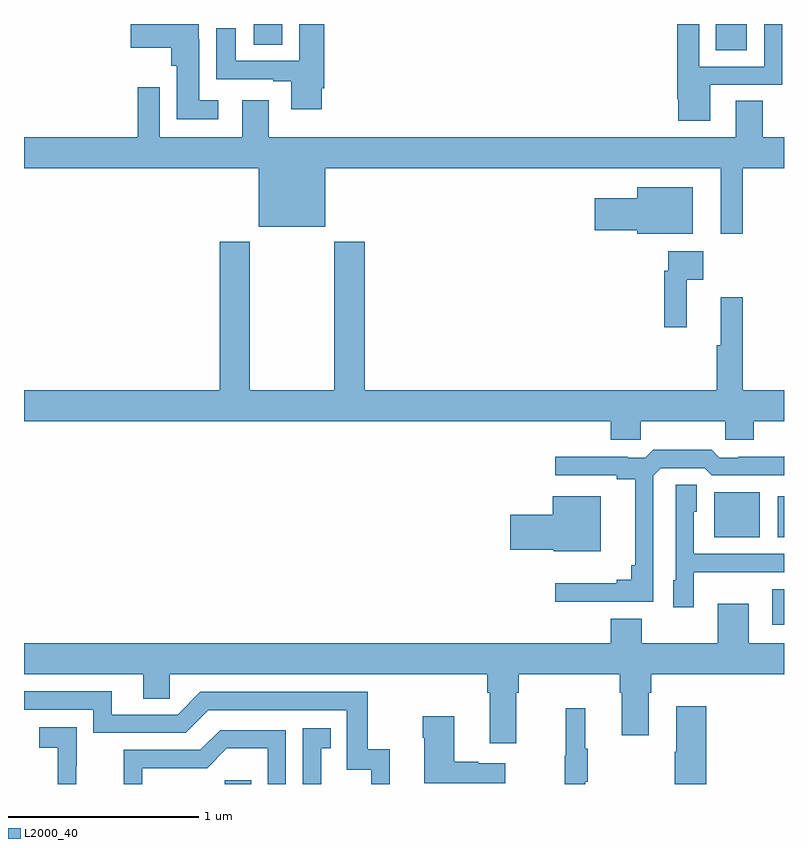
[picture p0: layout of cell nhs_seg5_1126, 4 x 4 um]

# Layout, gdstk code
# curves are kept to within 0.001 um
import gdstk
lib = gdstk.Library(unit=1e-6, precision=1e-09)
def R(c, l, rs):  # rectangles x0, y0, x1, y1
    for r in rs: c.add(gdstk.rectangle(r[:2], r[2:], *l))
def P(c, l, *ps):  # polygons
    for p in ps: c.add(gdstk.Polygon(p, *l))
L2000_40 = (2000, 40)

nhs_seg5_1126 = lib.new_cell('nhs_seg5_1126')
R(nhs_seg5_1126, L2000_40, [(180.057,906.799,180.197,906.819), (182.939,907.638,183,907.824), (182.633,908.099,182.872,908.335), (182.966,908.099,183,908.314), (182.642,910.66,182.803,910.799), (180.209,910.69,180.358,910.799)])
P(nhs_seg5_1126, L2000_40, [(180.568,910.462),(180.581,910.462),(180.581,910.799),(180.449,910.799),(180.449,910.605),(180.115,910.605),(180.115,910.777),(180.011,910.777),(180.011,910.509),(180.311,910.509),(180.311,910.497),(180.407,910.497),(180.407,910.35),(180.568,910.35)],
  [(180.022,910.399),(179.923,910.399),(179.923,910.718),(179.919,910.718),(179.919,910.799),(179.562,910.799),(179.562,910.673),(179.774,910.673),(179.774,910.578),(179.804,910.578),(179.804,910.298),(180.022,910.298)],
  [(182.611,910.479),(182.991,910.479),(182.991,910.799),(182.895,910.799),(182.895,910.575),(182.553,910.575),(182.553,910.799),(182.437,910.799),(182.437,910.402),(182.444,910.402),(182.444,910.29),(182.611,910.29)],
  [(182.783,910.04),(183,910.04),(183,910.204),(182.887,910.204),(182.887,910.394),(182.747,910.394),(182.747,910.204),(180.289,910.204),(180.289,910.399),(180.149,910.399),(180.149,910.204),(179.715,910.204),(179.715,910.465),(179.599,910.465),(179.599,910.204),(179,910.204),(179,910.04),(180.236,910.04),(180.236,909.731),(180.586,909.731),(180.586,910.04),(182.666,910.04),(182.666,909.696),(182.783,909.696)],
  [(182.521,909.94),(182.228,909.94),(182.228,909.883),(182.004,909.883),(182.004,909.713),(182.228,909.713),(182.228,909.695),(182.521,909.695)],
  [(182.247,908.708),(182.692,908.708),(182.692,908.61),(182.842,908.61),(182.842,908.708),(183,908.708),(183,908.872),(182.783,908.872),(182.783,909.361),(182.666,909.361),(182.666,909.108),(182.647,909.108),(182.647,908.872),(180.794,908.872),(180.794,909.652),(180.634,909.652),(180.634,908.872),(180.189,908.872),(180.189,909.652),(180.029,909.652),(180.029,908.872),(179,908.872),(179,908.708),(182.087,908.708),(182.087,908.61),(182.247,908.61)],
  [(182.489,909.452),(182.575,909.452),(182.575,909.604),(182.391,909.604),(182.391,909.5),(182.371,909.5),(182.371,909.204),(182.489,909.204)],
  [(182.313,908.421),(182.352,908.46),(182.583,908.46),(182.619,908.424),(183,908.424),(183,908.523),(182.758,908.522),(182.758,908.517),(182.658,908.517),(182.619,908.557),(182.311,908.557),(182.271,908.517),(182.177,908.517),(182.177,908.522),(181.797,908.522),(181.797,908.424),(182.12,908.424),(182.12,908.402),(182.216,908.402),(182.216,907.951),(182.197,907.951),(182.197,907.874),(182.12,907.874),(182.12,907.855),(181.797,907.855),(181.797,907.758),(182.313,907.758)],
  [(182.526,907.913),(182.843,907.913),(182.843,907.914),(183,907.914),(183,908.01),(182.526,908.01),(182.526,908.232),(182.542,908.232),(182.542,908.375),(182.43,908.375),(182.43,907.872),(182.417,907.872),(182.417,907.728),(182.526,907.728)],
  [(182.035,908.314),(181.784,908.314),(181.784,908.216),(181.56,908.216),(181.56,908.033),(181.788,908.033),(181.788,908.024),(182.035,908.024)],
  [(181.591,907.28),(181.604,907.28),(181.604,907.376),(182.135,907.376),(182.135,907.28),(182.147,907.28),(182.147,907.056),(182.287,907.056),(182.287,907.28),(182.3,907.28),(182.3,907.376),(183,907.376),(183,907.54),(182.815,907.54),(182.815,907.747),(182.651,907.747),(182.651,907.54),(182.251,907.54),(182.251,907.669),(182.087,907.669),(182.087,907.54),(179,907.54),(179,907.376),(179.627,907.376),(179.627,907.249),(179.766,907.249),(179.766,907.376),(181.439,907.376),(181.439,907.28),(181.451,907.28),(181.451,907.014),(181.591,907.014)],
  [(180.926,906.982),(180.808,906.982),(180.808,907.284),(179.928,907.284),(179.808,907.164),(179.461,907.164),(179.461,907.287),(179,907.287),(179,907.191),(179.364,907.191),(179.364,907.068),(179.85,907.068),(179.97,907.188),(180.699,907.188),(180.699,906.873),(180.828,906.873),(180.828,906.799),(180.926,906.799)],
  [(182.591,907.207),(182.432,907.207),(182.432,906.968),(182.425,906.968),(182.425,906.799),(182.591,906.799)],
  [(181.955,906.811),(181.966,906.811),(181.966,906.985),(181.955,906.985),(181.955,907.198),(181.852,907.198),(181.852,906.948),(181.845,906.948),(181.845,906.799),(181.955,906.799)],
  [(181.534,906.907),(181.391,906.907),(181.391,906.917),(181.264,906.917),(181.264,907.156),(181.099,907.156),(181.099,907.043),(181.106,907.043),(181.106,906.803),(181.534,906.803)],
  [(179.276,906.893),(179.277,906.893),(179.277,907.099),(179.079,907.099),(179.079,906.989),(179.177,906.989),(179.177,906.799),(179.276,906.799)],
  [(180.565,906.987),(180.614,906.987),(180.614,907.093),(180.468,907.093),(180.468,906.799),(180.565,906.799)],
  [(179.622,906.882),(179.964,906.882),(180.068,906.986),(180.282,906.986),(180.282,906.799),(180.378,906.799),(180.378,907.083),(180.032,907.083),(179.927,906.978),(179.524,906.978),(179.524,906.799),(179.622,906.799)])

lib.write_gds('nhs_seg5_1126.gds')
